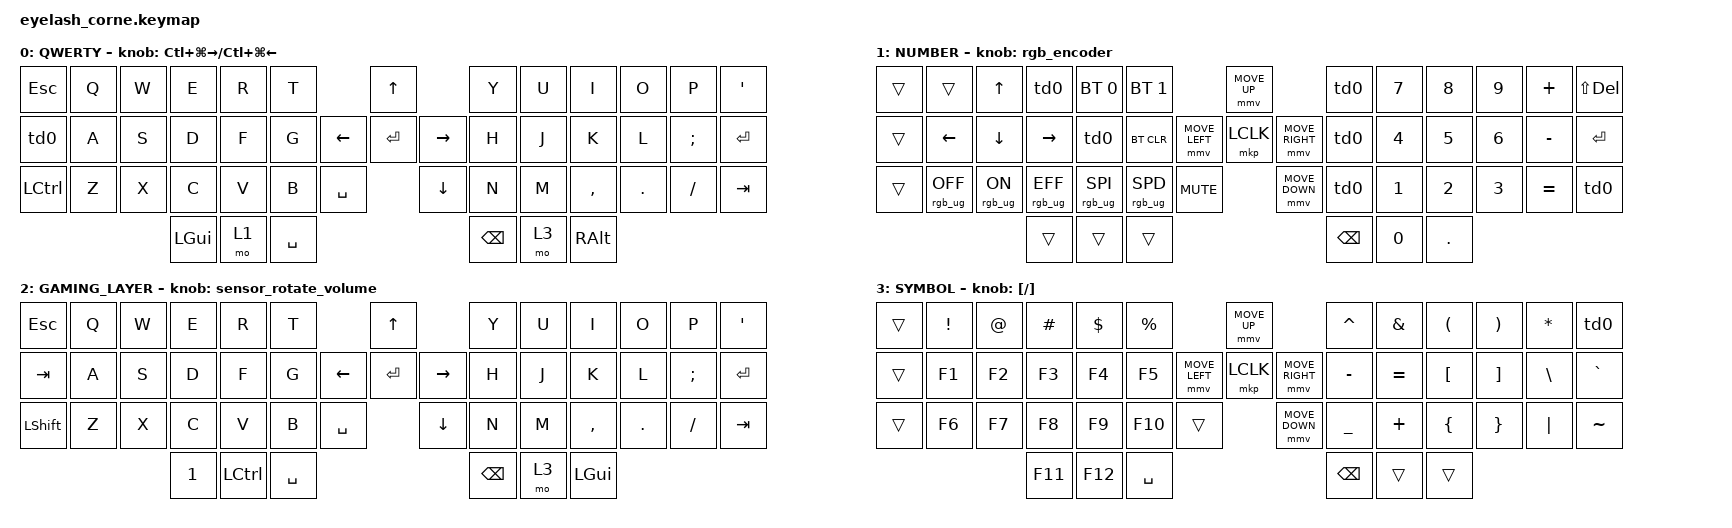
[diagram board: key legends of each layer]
#define ZMK_POINTING_DEFAULT_MOVE_VAL 1200  // 600
#define ZMK_POINTING_DEFAULT_SCRL_VAL 25   // 10

#include <input/processors.dtsi>
#include <zephyr/dt-bindings/input/input-event-codes.h>
#include <behaviors.dtsi>
#include <dt-bindings/zmk/bt.h>
#include <dt-bindings/zmk/keys.h>
#include <dt-bindings/zmk/pointing.h>
#include <dt-bindings/zmk/rgb.h>

&mmv_input_listener { input-processors = <&zip_xy_scaler 2 1>; };

&msc_input_listener { input-processors = <&zip_scroll_scaler 2 1>; };

&msc {
    acceleration-exponent = <1>;      // 0
    time-to-max-speed-ms = <100>;       // 300
    delay-ms = <0>;                   // 0
};

&mmv {
    time-to-max-speed-ms = <500>;
    acceleration-exponent = <1>;
    trigger-period-ms = <16>;
};

&soft_off { hold-time-ms = <2000>; };

/ {
    behaviors {
        td0: td0 {
            compatible = "zmk,behavior-tap-dance";
            display-name = "Shift/Caps Lock Tap Dance";
            #binding-cells = <0>;
            bindings = <&kp LEFT_SHIFT>, <&kp CAPS>;
        };

        sensor_rotate_volume: sensor_rotate_volume {
            compatible = "zmk,behavior-sensor-rotate";
            label = "SENSOR_ROTATE_VOLUME";
            #sensor-binding-cells = <0>;
            bindings = <&kp C_VOLUME_UP>, <&kp C_VOLUME_DOWN>;
        };
    };

    rgb_encoder: rgb_encoder {
        compatible = "zmk,behavior-sensor-rotate";
        #sensor-binding-cells = <0>;
        bindings = <&rgb_ug RGB_BRI>, <&rgb_ug RGB_BRD>;
    };

    scroll_encoder: scroll_encoder {
        compatible = "zmk,behavior-sensor-rotate";
        #sensor-binding-cells = <0>;
        bindings = <&msc SCRL_DOWN>, <&msc SCRL_UP>;

        tap-ms = <100>;
    };

    combos {
        compatible = "zmk,combos";

        softoff {
            bindings = <&soft_off>;
            key-positions = <1 15 29 14>;
        };

        toggle_layer_3 {
            bindings = <&tog 2>;
            key-positions = <43 42>;
            layers = <0 2>;
        };
    };

    keymap {
        compatible = "zmk,keymap";

        default_layer {
            display-name = "QWERTY";
            bindings = <
&kp ESC    &kp Q  &kp W  &kp E     &kp R  &kp T                             &kp UP                &kp Y          &kp U  &kp I      &kp O    &kp P     &kp SQT
&td0       &kp A  &kp S  &kp D     &kp F  &kp G                   &kp LEFT  &kp ENTER  &kp RIGHT  &kp H          &kp J  &kp K      &kp L    &kp SEMI  &kp ENTER
&kp LCTRL  &kp Z  &kp X  &kp C     &kp V  &kp B      &kp SPACE              &kp DOWN              &kp N          &kp M  &kp COMMA  &kp DOT  &kp FSLH  &kp TAB
                         &kp LGUI  &mo 1  &kp SPACE                                               &kp BACKSPACE  &mo 3  &kp RALT
            >;

            sensor-bindings = <&inc_dec_kp LC(LG(RIGHT_ARROW)) LC(LG(LEFT_ARROW))>;
        };

        lower_layer {
            display-name = "NUMBER";
            bindings = <
&trans  &trans           &kp UP          &td0             &bt BT_SEL 0     &bt BT_SEL 1                                   &mmv MOVE_UP                     &td0           &kp N7  &kp N8   &kp N9  &kp PLUS   &kp LS(DEL)
&trans  &kp LEFT         &kp DOWN        &kp RIGHT        &td0             &bt BT_CLR                     &mmv MOVE_LEFT  &mkp LCLK       &mmv MOVE_RIGHT  &td0           &kp N4  &kp N5   &kp N6  &kp MINUS  &kp ENTER
&trans  &rgb_ug RGB_OFF  &rgb_ug RGB_ON  &rgb_ug RGB_EFF  &rgb_ug RGB_SPI  &rgb_ug RGB_SPD  &kp C_MUTE                    &mmv MOVE_DOWN                   &td0           &kp N1  &kp N2   &kp N3  &kp EQUAL  &td0
                                         &trans           &trans           &trans                                                                          &kp BACKSPACE  &kp N0  &kp DOT
            >;

            sensor-bindings = <&rgb_encoder>;
        };

        GAMING_LAYER {
            bindings = <
&kp ESC         &kp Q  &kp W  &kp E   &kp R             &kp T                             &kp UP                &kp Y     &kp U  &kp I      &kp O    &kp P     &kp APOS
&kp TAB         &kp A  &kp S  &kp D   &kp F             &kp G                   &kp LEFT  &kp ENTER  &kp RIGHT  &kp H     &kp J  &kp K      &kp L    &kp SEMI  &kp ENTER
&kp LEFT_SHIFT  &kp Z  &kp X  &kp C   &kp V             &kp B      &kp SPACE              &kp DOWN              &kp N     &kp M  &kp COMMA  &kp DOT  &kp FSLH  &kp TAB
                              &kp N1  &kp LEFT_CONTROL  &kp SPACE                                               &kp BSPC  &mo 3  &kp LGUI
            >;

            sensor-bindings = <&sensor_rotate_volume>;
        };

        raise_layer {
            display-name = "SYMBOL";
            bindings = <
&trans  &kp EXCL  &kp AT  &kp HASH  &kp DLLR  &kp PRCNT                            &mmv MOVE_UP                     &kp CARET      &kp AMPS   &kp LPAR  &kp RPAR  &kp ASTERISK  &td0
&trans  &kp F1    &kp F2  &kp F3    &kp F4    &kp F5               &mmv MOVE_LEFT  &mkp LCLK       &mmv MOVE_RIGHT  &kp MINUS      &kp EQUAL  &kp LBKT  &kp RBKT  &kp BSLH      &kp GRAVE
&trans  &kp F6    &kp F7  &kp F8    &kp F9    &kp F10    &trans                    &mmv MOVE_DOWN                   &kp UNDER      &kp PLUS   &kp LBRC  &kp RBRC  &kp PIPE      &kp TILDE
                          &kp F11   &kp F12   &kp SPACE                                                             &kp BACKSPACE  &trans     &trans
            >;

            sensor-bindings = <&inc_dec_kp LEFT_BRACKET RIGHT_BRACKET>;
        };
    };
};
